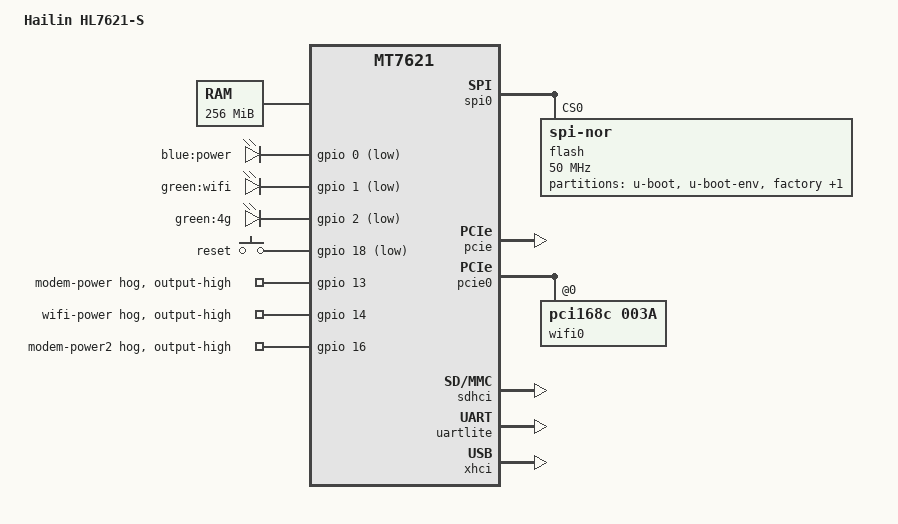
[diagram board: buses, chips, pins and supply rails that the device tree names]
// SPDX-License-Identifier: GPL-2.0-or-later OR MIT
/*
 * Hailin HL7621-S — MT7621 / 256MB DDR3 / 16MB SPI-NOR
 *
 * WiFi: SparkLAN WPEA-121NW = Atheros AR9382 2x2 802.11abgn（mini-PCIe，PCI ID 168c:0030）
 *       驱动 ath9k（kmod-ath9k），校准数据在芯片 OTP 里，不读 factory 分区
 * 4G:   mini-PCIe 模块，USB 信号走片内 xhci
 *
 * 实测引脚（用户确认）：GPIO13 + GPIO16 = 4G 电源，GPIO14 = WiFi 电源
 * 关键：GPIO19 是 PCIe PERST#，被官方 mt7621.dtsi 的 pcie 节点占用，
 *       绝对不能挪作他用，否则 PCIe 链路训练失败，WiFi 和 4G 一起挂。
 *
 * 目标版本：OpenWrt 24.10（内核 6.6）
 */

/dts-v1/;

#include "mt7621.dtsi"

#include <dt-bindings/gpio/gpio.h>
#include <dt-bindings/input/input.h>

/ {
	compatible = "hailin,hl7621-s", "mediatek,mt7621-soc";
	model = "Hailin HL7621-S";

	aliases {
		led-boot = &led_power;
		led-failsafe = &led_power;
		led-running = &led_power;
		led-upgrade = &led_power;
		label-mac-device = &gmac0;
	};

	memory@0 {
		device_type = "memory";
		reg = <0x0 0x10000000>;  /* 256MB */
	};

	leds {
		compatible = "gpio-leds";

		led_power: led-0 {
			label = "blue:power";
			gpios = <&gpio 0 GPIO_ACTIVE_LOW>;
		};

		led-1 {
			label = "green:wifi";
			gpios = <&gpio 1 GPIO_ACTIVE_LOW>;
		};

		led_4g: led-2 {
			label = "green:4g";
			gpios = <&gpio 2 GPIO_ACTIVE_LOW>;
		};
	};

	keys {
		compatible = "gpio-keys";

		reset {
			label = "reset";
			gpios = <&gpio 18 GPIO_ACTIVE_LOW>;
			linux,code = <KEY_RESTART>;
		};
	};

	/*
	 * USB3.0 口 VBus：如果插 U 盘后 dmesg 完全没反应，说明 5V 受 GPIO 控制。
	 * 把 XX 换成实测脚位并解除注释，同时打开下面 &xhci 里的 vbus-supply。
	 * 板子常供电就整段删掉。
	 */
	// reg_usb_vbus: regulator {
	// 	compatible = "regulator-fixed";
	// 	regulator-name = "usb_vbus";
	// 	regulator-min-microvolt = <5000000>;
	// 	regulator-max-microvolt = <5000000>;
	// 	gpios = <&gpio XX GPIO_ACTIVE_HIGH>;
	// 	enable-active-high;
	// };
};

/*
 * 模块电源：用 gpio-hog，在 GPIO 驱动 probe 时（早于 PCIe/USB 驱动）立即拉高，
 * 不依赖用户态脚本，也不需要额外内核包。
 *   GPIO13 / GPIO16 → 4G 模块电源
 *   GPIO14          → WiFi 模块电源
 *
 * 若要在运行中手动开关 4G，把对应 hog 删掉，改用 gpiod：
 *   opkg install gpiod-tools    （内核已内置 CONFIG_GPIO_CDEV=y）
 */
&gpio {
	modem_pwr_hog: modem-power-hog {
		gpio-hog;
		gpios = <13 GPIO_ACTIVE_HIGH>;
		output-high;
		line-name = "modem-power";
	};

	wifi_pwr_hog: wifi-power-hog {
		gpio-hog;
		gpios = <14 GPIO_ACTIVE_HIGH>;
		output-high;
		line-name = "wifi-power";
	};

	modem_pwr2_hog: modem-power2-hog {
		gpio-hog;
		gpios = <16 GPIO_ACTIVE_HIGH>;
		output-high;
		line-name = "modem-power2";
	};
};

&spi0 {
	status = "okay";

	flash@0 {
		compatible = "jedec,spi-nor";
		reg = <0>;
		spi-max-frequency = <50000000>;

		partitions {
			compatible = "fixed-partitions";
			#address-cells = <1>;
			#size-cells = <1>;

			partition@0 {
				label = "u-boot";
				reg = <0x0 0x30000>;   /* 192KB */
				read-only;
			};

			partition@30000 {
				label = "u-boot-env";
				reg = <0x30000 0x10000>; /* 64KB */
				read-only;
			};

			factory: partition@40000 {
				label = "factory";
				reg = <0x40000 0x10000>; /* 64KB */
				read-only;

				nvmem-layout {
					compatible = "fixed-layout";
					#address-cells = <1>;
					#size-cells = <1>;

					/*
					 * 偏移以原厂 system.bin 里的实际布局为准，
					 * 上板后用 hexdump -C /dev/mtd2 | grep -i xx:xx 校验
					 */
					macaddr_factory_e000: macaddr@e000 {
						reg = <0xe000 0x6>;
					};
				};
			};

			partition@50000 {
				compatible = "denx,uimage";
				label = "firmware";
				reg = <0x50000 0xfb0000>;
			};
		};
	};
};

&pcie {
	status = "okay";
};

/*
 * WPEA-121NW（AR9382）由 ath9k 按 PCI ID 自动绑定，不需要 nvmem/eeprom 节点。
 * 这个 wifi@ 子节点的作用是给它挂 LED/名称，删掉也能工作。
 * 插在哪个 root port 以 `lspci -n` 实测为准；若在 pcie1/pcie2，把本节点挪过去。
 */
&pcie0 {
	wifi0: wifi@0,0 {
		compatible = "pci168c,003a";  /* AR9382/AR9390，以 lspci -n 实测为准 */
		reg = <0x0000 0 0 0 0>;
	};
};

/* 另外两个 root port 留给 4G / 扩展网卡（USB 模式的 4G 模块实际走 USB，不占 PCIe） */
&pcie1 {
};

&pcie2 {
};

&gmac0 {
	nvmem-cells = <&macaddr_factory_e000>;
	nvmem-cell-names = "mac-address";
};

/*
 * 5 个千兆口全部接片内 MT7530 交换芯片，走 gmac0 + fixed-link。
 * gmac1 在官方 dtsi 里默认 disabled（无外接 PHY），保持不动。
 * 原 DTS 打开 gmac1 并写 mac-address-increment 是无效的，已移除。
 */
&switch0 {
	ports {
		port@0 {
			status = "okay";
			label = "wan";
		};

		port@1 {
			status = "okay";
			label = "lan1";
		};

		port@2 {
			status = "okay";
			label = "lan2";
		};

		port@3 {
			status = "okay";
			label = "lan3";
		};

		port@4 {
			status = "okay";
			label = "lan4";
		};
	};
};

/*
 * TF 卡座：sdhci 复用组 = GPIO41~48，与电源脚 13/14/16 不冲突，可正常开启。
 * 依赖 kmod-mmc-mtk（已在设备定义里列入 DEVICE_PACKAGES）。
 */
&sdhci {
	status = "okay";
};

/* 调试串口 */
&uartlite {
	status = "okay";
};

/*
 * 片内 USB：xhci-mtk 同时提供 USB3.0 与 USB2.0，
 * USB2.0 口、USB3.0 口、4G 模块的 USB 信号都挂在它下面。
 * 这是原 DTS 里 USB 不工作的常见漏点之一：只开 &xhci 而内核没编 xhci-mtk。
 */
&xhci {
	status = "okay";
	// vbus-supply = <&reg_usb_vbus>;
};

/*
 * 释放引脚给普通 GPIO 用（24.10 的 &state_default 新式写法）：
 *   jtag = GPIO13~17 → 4G 电源 13/16、WiFi 电源 14
 *   wdt  = GPIO18    → reset 按键
 *
 * 注意冲突：GPIO1/GPIO2 属于 uart1 复用组，就是调试串口的 TX/RX。
 * 只要保留 console，green:wifi 和 green:4g 两个 LED 就不会亮。
 * 要么换到空闲脚位，要么在此处追加 "uart1" 放弃调试串口。
 */
&state_default {
	gpio {
		groups = "jtag", "wdt";
		function = "gpio";
	};
};
